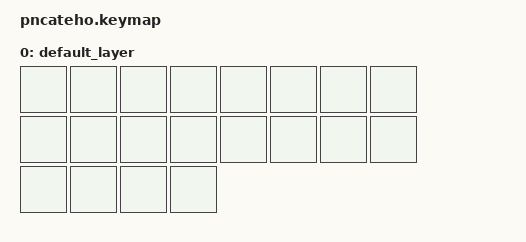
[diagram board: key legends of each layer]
/*
 * Demo PNCATEHO keymap. Combos expanded from
 * https://github.com/aroum/zmk-PNCATEHO (branch 2hand_PNCATEHO)
 * chords.dtsi so parse/splice can read numeric key-positions.
 * SPDX-License-Identifier: MIT
 */

#include <behaviors.dtsi>
#include <dt-bindings/zmk/keys.h>
#include <dt-bindings/zmk/bt.h>
#include <dt-bindings/zmk/ext_power.h>

/ {
        combos {
                compatible = "zmk,combos";
                combo_l_space {
                        bindings = <&kp SPACE>;
                        key-positions = <17>;
                        timeout-ms = <70>;
                        layers = <0>;
                };
                combo_r_space {
                        bindings = <&kp SPACE>;
                        key-positions = <18>;
                        timeout-ms = <70>;
                        layers = <0>;
                };
                combo_l_bspc {
                        bindings = <&kp BSPC>;
                        key-positions = <16>;
                        timeout-ms = <70>;
                        layers = <0>;
                };
                combo_r_bspc {
                        bindings = <&kp BSPC>;
                        key-positions = <19>;
                        timeout-ms = <70>;
                        layers = <0>;
                };
                combo_l_B {
                        bindings = <&kp B>;
                        key-positions = <0>;
                        timeout-ms = <70>;
                        layers = <0>;
                };
                combo_li_B {
                        bindings = <&kp LS(B)>;
                        key-positions = <0 17>;
                        timeout-ms = <70>;
                        layers = <0>;
                };
                combo_lo_B {
                        bindings = <&kp LEFT>;
                        key-positions = <0 16>;
                        timeout-ms = <70>;
                        layers = <0>;
                };
                combo_lb_B {
                        bindings = <&kp LS(LEFT)>;
                        key-positions = <0 17 16>;
                        timeout-ms = <70>;
                        layers = <0>;
                };
                combo_r_B {
                        bindings = <&kp B>;
                        key-positions = <7>;
                        timeout-ms = <70>;
                        layers = <0>;
                };
                combo_ri_B {
                        bindings = <&kp LS(B)>;
                        key-positions = <7 18>;
                        timeout-ms = <70>;
                        layers = <0>;
                };
                combo_ro_B {
                        bindings = <&kp LEFT>;
                        key-positions = <7 19>;
                        timeout-ms = <70>;
                        layers = <0>;
                };
                combo_rb_B {
                        bindings = <&kp LS(LEFT)>;
                        key-positions = <7 18 19>;
                        timeout-ms = <70>;
                        layers = <0>;
                };
                combo_l_F {
                        bindings = <&kp F>;
                        key-positions = <1>;
                        timeout-ms = <70>;
                        layers = <0>;
                };
                combo_li_F {
                        bindings = <&kp LS(F)>;
                        key-positions = <1 17>;
                        timeout-ms = <70>;
                        layers = <0>;
                };
                combo_lo_F {
                        bindings = <&kp UP>;
                        key-positions = <1 16>;
                        timeout-ms = <70>;
                        layers = <0>;
                };
                combo_lb_F {
                        bindings = <&kp LS(UP)>;
                        key-positions = <1 17 16>;
                        timeout-ms = <70>;
                        layers = <0>;
                };
                combo_r_F {
                        bindings = <&kp F>;
                        key-positions = <6>;
                        timeout-ms = <70>;
                        layers = <0>;
                };
                combo_ri_F {
                        bindings = <&kp LS(F)>;
                        key-positions = <6 18>;
                        timeout-ms = <70>;
                        layers = <0>;
                };
                combo_ro_F {
                        bindings = <&kp UP>;
                        key-positions = <6 19>;
                        timeout-ms = <70>;
                        layers = <0>;
                };
                combo_rb_F {
                        bindings = <&kp LS(UP)>;
                        key-positions = <6 18 19>;
                        timeout-ms = <70>;
                        layers = <0>;
                };
                combo_l_T {
                        bindings = <&kp T>;
                        key-positions = <2>;
                        timeout-ms = <70>;
                        layers = <0>;
                };
                combo_li_T {
                        bindings = <&kp LS(T)>;
                        key-positions = <2 17>;
                        timeout-ms = <70>;
                        layers = <0>;
                };
                combo_lo_T {
                        bindings = <&kp DOWN>;
                        key-positions = <2 16>;
                        timeout-ms = <70>;
                        layers = <0>;
                };
                combo_lb_T {
                        bindings = <&kp LS(DOWN)>;
                        key-positions = <2 17 16>;
                        timeout-ms = <70>;
                        layers = <0>;
                };
                combo_r_T {
                        bindings = <&kp T>;
                        key-positions = <5>;
                        timeout-ms = <70>;
                        layers = <0>;
                };
                combo_ri_T {
                        bindings = <&kp LS(T)>;
                        key-positions = <5 18>;
                        timeout-ms = <70>;
                        layers = <0>;
                };
                combo_ro_T {
                        bindings = <&kp DOWN>;
                        key-positions = <5 19>;
                        timeout-ms = <70>;
                        layers = <0>;
                };
                combo_rb_T {
                        bindings = <&kp LS(DOWN)>;
                        key-positions = <5 18 19>;
                        timeout-ms = <70>;
                        layers = <0>;
                };
                combo_l_J {
                        bindings = <&kp J>;
                        key-positions = <3>;
                        timeout-ms = <70>;
                        layers = <0>;
                };
                combo_li_J {
                        bindings = <&kp LS(J)>;
                        key-positions = <3 17>;
                        timeout-ms = <70>;
                        layers = <0>;
                };
                combo_lo_J {
                        bindings = <&kp RIGHT>;
                        key-positions = <3 16>;
                        timeout-ms = <70>;
                        layers = <0>;
                };
                combo_lb_J {
                        bindings = <&kp LS(RIGHT)>;
                        key-positions = <3 17 16>;
                        timeout-ms = <70>;
                        layers = <0>;
                };
                combo_r_J {
                        bindings = <&kp J>;
                        key-positions = <4>;
                        timeout-ms = <70>;
                        layers = <0>;
                };
                combo_ri_J {
                        bindings = <&kp LS(J)>;
                        key-positions = <4 18>;
                        timeout-ms = <70>;
                        layers = <0>;
                };
                combo_ro_J {
                        bindings = <&kp RIGHT>;
                        key-positions = <4 19>;
                        timeout-ms = <70>;
                        layers = <0>;
                };
                combo_rb_J {
                        bindings = <&kp LS(RIGHT)>;
                        key-positions = <4 18 19>;
                        timeout-ms = <70>;
                        layers = <0>;
                };
                combo_l_H {
                        bindings = <&kp H>;
                        key-positions = <8>;
                        timeout-ms = <70>;
                        layers = <0>;
                };
                combo_li_H {
                        bindings = <&kp LS(H)>;
                        key-positions = <8 17>;
                        timeout-ms = <70>;
                        layers = <0>;
                };
                combo_lo_H {
                        bindings = <&sk LGUI>;
                        key-positions = <8 16>;
                        timeout-ms = <70>;
                        layers = <0>;
                };
                combo_lb_H {
                        bindings = <&kp HOME>;
                        key-positions = <8 17 16>;
                        timeout-ms = <70>;
                        layers = <0>;
                };
                combo_r_H {
                        bindings = <&kp H>;
                        key-positions = <15>;
                        timeout-ms = <70>;
                        layers = <0>;
                };
                combo_ri_H {
                        bindings = <&kp LS(H)>;
                        key-positions = <15 18>;
                        timeout-ms = <70>;
                        layers = <0>;
                };
                combo_ro_H {
                        bindings = <&sk LGUI>;
                        key-positions = <15 19>;
                        timeout-ms = <70>;
                        layers = <0>;
                };
                combo_rb_H {
                        bindings = <&kp HOME>;
                        key-positions = <15 18 19>;
                        timeout-ms = <70>;
                        layers = <0>;
                };
                combo_l_C {
                        bindings = <&kp C>;
                        key-positions = <9>;
                        timeout-ms = <70>;
                        layers = <0>;
                };
                combo_li_C {
                        bindings = <&kp LS(C)>;
                        key-positions = <9 17>;
                        timeout-ms = <70>;
                        layers = <0>;
                };
                combo_lo_C {
                        bindings = <&sk LALT>;
                        key-positions = <9 16>;
                        timeout-ms = <70>;
                        layers = <0>;
                };
                combo_lb_C {
                        bindings = <&kp PG_UP>;
                        key-positions = <9 17 16>;
                        timeout-ms = <70>;
                        layers = <0>;
                };
                combo_r_C {
                        bindings = <&kp C>;
                        key-positions = <14>;
                        timeout-ms = <70>;
                        layers = <0>;
                };
                combo_ri_C {
                        bindings = <&kp LS(C)>;
                        key-positions = <14 18>;
                        timeout-ms = <70>;
                        layers = <0>;
                };
                combo_ro_C {
                        bindings = <&sk LALT>;
                        key-positions = <14 19>;
                        timeout-ms = <70>;
                        layers = <0>;
                };
                combo_rb_C {
                        bindings = <&kp PG_UP>;
                        key-positions = <14 18 19>;
                        timeout-ms = <70>;
                        layers = <0>;
                };
                combo_l_N {
                        bindings = <&kp N>;
                        key-positions = <10>;
                        timeout-ms = <70>;
                        layers = <0>;
                };
                combo_li_N {
                        bindings = <&kp LS(N)>;
                        key-positions = <10 17>;
                        timeout-ms = <70>;
                        layers = <0>;
                };
                combo_lo_N {
                        bindings = <&sk LCTRL>;
                        key-positions = <10 16>;
                        timeout-ms = <70>;
                        layers = <0>;
                };
                combo_lb_N {
                        bindings = <&kp PG_DN>;
                        key-positions = <10 17 16>;
                        timeout-ms = <70>;
                        layers = <0>;
                };
                combo_r_N {
                        bindings = <&kp N>;
                        key-positions = <13>;
                        timeout-ms = <70>;
                        layers = <0>;
                };
                combo_ri_N {
                        bindings = <&kp LS(N)>;
                        key-positions = <13 18>;
                        timeout-ms = <70>;
                        layers = <0>;
                };
                combo_ro_N {
                        bindings = <&sk LCTRL>;
                        key-positions = <13 19>;
                        timeout-ms = <70>;
                        layers = <0>;
                };
                combo_rb_N {
                        bindings = <&kp PG_DN>;
                        key-positions = <13 18 19>;
                        timeout-ms = <70>;
                        layers = <0>;
                };
                combo_l_Y {
                        bindings = <&kp Y>;
                        key-positions = <11>;
                        timeout-ms = <70>;
                        layers = <0>;
                };
                combo_li_Y {
                        bindings = <&kp LS(Y)>;
                        key-positions = <11 17>;
                        timeout-ms = <70>;
                        layers = <0>;
                };
                combo_lo_Y {
                        bindings = <&sk LSHIFT>;
                        key-positions = <11 16>;
                        timeout-ms = <70>;
                        layers = <0>;
                };
                combo_lb_Y {
                        bindings = <&kp END>;
                        key-positions = <11 17 16>;
                        timeout-ms = <70>;
                        layers = <0>;
                };
                combo_r_Y {
                        bindings = <&kp Y>;
                        key-positions = <12>;
                        timeout-ms = <70>;
                        layers = <0>;
                };
                combo_ri_Y {
                        bindings = <&kp LS(Y)>;
                        key-positions = <12 18>;
                        timeout-ms = <70>;
                        layers = <0>;
                };
                combo_ro_Y {
                        bindings = <&sk LSHIFT>;
                        key-positions = <12 19>;
                        timeout-ms = <70>;
                        layers = <0>;
                };
                combo_rb_Y {
                        bindings = <&kp END>;
                        key-positions = <12 18 19>;
                        timeout-ms = <70>;
                        layers = <0>;
                };
                combo_l_D {
                        bindings = <&kp D>;
                        key-positions = <0 3>;
                        timeout-ms = <70>;
                        layers = <0>;
                };
                combo_li_D {
                        bindings = <&kp LS(D)>;
                        key-positions = <0 3 17>;
                        timeout-ms = <70>;
                        layers = <0>;
                };
                combo_lo_D {
                        bindings = <&kp N1>;
                        key-positions = <0 3 16>;
                        timeout-ms = <70>;
                        layers = <0>;
                };
                combo_lb_D {
                        bindings = <&kp F1>;
                        key-positions = <0 3 17 16>;
                        timeout-ms = <70>;
                        layers = <0>;
                };
                combo_r_D {
                        bindings = <&kp D>;
                        key-positions = <7 4>;
                        timeout-ms = <70>;
                        layers = <0>;
                };
                combo_ri_D {
                        bindings = <&kp LS(D)>;
                        key-positions = <7 4 18>;
                        timeout-ms = <70>;
                        layers = <0>;
                };
                combo_ro_D {
                        bindings = <&kp N1>;
                        key-positions = <7 4 19>;
                        timeout-ms = <70>;
                        layers = <0>;
                };
                combo_rb_D {
                        bindings = <&kp F1>;
                        key-positions = <7 4 18 19>;
                        timeout-ms = <70>;
                        layers = <0>;
                };
                combo_l_K {
                        bindings = <&kp K>;
                        key-positions = <8 11>;
                        timeout-ms = <70>;
                        layers = <0>;
                };
                combo_li_K {
                        bindings = <&kp LS(K)>;
                        key-positions = <8 11 17>;
                        timeout-ms = <70>;
                        layers = <0>;
                };
                combo_lo_K {
                        bindings = <&kp N2>;
                        key-positions = <8 11 16>;
                        timeout-ms = <70>;
                        layers = <0>;
                };
                combo_lb_K {
                        bindings = <&kp F2>;
                        key-positions = <8 11 17 16>;
                        timeout-ms = <70>;
                        layers = <0>;
                };
                combo_r_K {
                        bindings = <&kp K>;
                        key-positions = <15 12>;
                        timeout-ms = <70>;
                        layers = <0>;
                };
                combo_ri_K {
                        bindings = <&kp LS(K)>;
                        key-positions = <15 12 18>;
                        timeout-ms = <70>;
                        layers = <0>;
                };
                combo_ro_K {
                        bindings = <&kp N2>;
                        key-positions = <15 12 19>;
                        timeout-ms = <70>;
                        layers = <0>;
                };
                combo_rb_K {
                        bindings = <&kp F2>;
                        key-positions = <15 12 18 19>;
                        timeout-ms = <70>;
                        layers = <0>;
                };
                combo_l_R {
                        bindings = <&kp R>;
                        key-positions = <8 9>;
                        timeout-ms = <70>;
                        layers = <0>;
                };
                combo_li_R {
                        bindings = <&kp LS(R)>;
                        key-positions = <8 9 17>;
                        timeout-ms = <70>;
                        layers = <0>;
                };
                combo_lo_R {
                        bindings = <&kp N3>;
                        key-positions = <8 9 16>;
                        timeout-ms = <70>;
                        layers = <0>;
                };
                combo_lb_R {
                        bindings = <&kp F3>;
                        key-positions = <8 9 17 16>;
                        timeout-ms = <70>;
                        layers = <0>;
                };
                combo_r_R {
                        bindings = <&kp R>;
                        key-positions = <15 14>;
                        timeout-ms = <70>;
                        layers = <0>;
                };
                combo_ri_R {
                        bindings = <&kp LS(R)>;
                        key-positions = <15 14 18>;
                        timeout-ms = <70>;
                        layers = <0>;
                };
                combo_ro_R {
                        bindings = <&kp N3>;
                        key-positions = <15 14 19>;
                        timeout-ms = <70>;
                        layers = <0>;
                };
                combo_rb_R {
                        bindings = <&kp F3>;
                        key-positions = <15 14 18 19>;
                        timeout-ms = <70>;
                        layers = <0>;
                };
                combo_l_V {
                        bindings = <&kp V>;
                        key-positions = <10 11>;
                        timeout-ms = <70>;
                        layers = <0>;
                };
                combo_li_V {
                        bindings = <&kp LS(V)>;
                        key-positions = <10 11 17>;
                        timeout-ms = <70>;
                        layers = <0>;
                };
                combo_lo_V {
                        bindings = <&kp N4>;
                        key-positions = <10 11 16>;
                        timeout-ms = <70>;
                        layers = <0>;
                };
                combo_lb_V {
                        bindings = <&kp F4>;
                        key-positions = <10 11 17 16>;
                        timeout-ms = <70>;
                        layers = <0>;
                };
                combo_r_V {
                        bindings = <&kp V>;
                        key-positions = <13 12>;
                        timeout-ms = <70>;
                        layers = <0>;
                };
                combo_ri_V {
                        bindings = <&kp LS(V)>;
                        key-positions = <13 12 18>;
                        timeout-ms = <70>;
                        layers = <0>;
                };
                combo_ro_V {
                        bindings = <&kp N4>;
                        key-positions = <13 12 19>;
                        timeout-ms = <70>;
                        layers = <0>;
                };
                combo_rb_V {
                        bindings = <&kp F4>;
                        key-positions = <13 12 18 19>;
                        timeout-ms = <70>;
                        layers = <0>;
                };
                combo_l_L {
                        bindings = <&kp L>;
                        key-positions = <0 1>;
                        timeout-ms = <70>;
                        layers = <0>;
                };
                combo_li_L {
                        bindings = <&kp LS(L)>;
                        key-positions = <0 1 17>;
                        timeout-ms = <70>;
                        layers = <0>;
                };
                combo_lo_L {
                        bindings = <&kp N5>;
                        key-positions = <0 1 16>;
                        timeout-ms = <70>;
                        layers = <0>;
                };
                combo_lb_L {
                        bindings = <&kp F5>;
                        key-positions = <0 1 17 16>;
                        timeout-ms = <70>;
                        layers = <0>;
                };
                combo_r_L {
                        bindings = <&kp L>;
                        key-positions = <7 6>;
                        timeout-ms = <70>;
                        layers = <0>;
                };
                combo_ri_L {
                        bindings = <&kp LS(L)>;
                        key-positions = <7 6 18>;
                        timeout-ms = <70>;
                        layers = <0>;
                };
                combo_ro_L {
                        bindings = <&kp N5>;
                        key-positions = <7 6 19>;
                        timeout-ms = <70>;
                        layers = <0>;
                };
                combo_rb_L {
                        bindings = <&kp F5>;
                        key-positions = <7 6 18 19>;
                        timeout-ms = <70>;
                        layers = <0>;
                };
                combo_l_G {
                        bindings = <&kp G>;
                        key-positions = <2 3>;
                        timeout-ms = <70>;
                        layers = <0>;
                };
                combo_li_G {
                        bindings = <&kp LS(G)>;
                        key-positions = <2 3 17>;
                        timeout-ms = <70>;
                        layers = <0>;
                };
                combo_lo_G {
                        bindings = <&kp N6>;
                        key-positions = <2 3 16>;
                        timeout-ms = <70>;
                        layers = <0>;
                };
                combo_lb_G {
                        bindings = <&kp F6>;
                        key-positions = <2 3 17 16>;
                        timeout-ms = <70>;
                        layers = <0>;
                };
                combo_r_G {
                        bindings = <&kp G>;
                        key-positions = <5 4>;
                        timeout-ms = <70>;
                        layers = <0>;
                };
                combo_ri_G {
                        bindings = <&kp LS(G)>;
                        key-positions = <5 4 18>;
                        timeout-ms = <70>;
                        layers = <0>;
                };
                combo_ro_G {
                        bindings = <&kp N6>;
                        key-positions = <5 4 19>;
                        timeout-ms = <70>;
                        layers = <0>;
                };
                combo_rb_G {
                        bindings = <&kp F6>;
                        key-positions = <5 4 18 19>;
                        timeout-ms = <70>;
                        layers = <0>;
                };
                combo_l_E {
                        bindings = <&kp E>;
                        key-positions = <9 10>;
                        timeout-ms = <70>;
                        layers = <0>;
                };
                combo_li_E {
                        bindings = <&kp LS(E)>;
                        key-positions = <9 10 17>;
                        timeout-ms = <70>;
                        layers = <0>;
                };
                combo_lo_E {
                        bindings = <&kp N7>;
                        key-positions = <9 10 16>;
                        timeout-ms = <70>;
                        layers = <0>;
                };
                combo_lb_E {
                        bindings = <&kp F7>;
                        key-positions = <9 10 17 16>;
                        timeout-ms = <70>;
                        layers = <0>;
                };
                combo_r_E {
                        bindings = <&kp E>;
                        key-positions = <14 13>;
                        timeout-ms = <70>;
                        layers = <0>;
                };
                combo_ri_E {
                        bindings = <&kp LS(E)>;
                        key-positions = <14 13 18>;
                        timeout-ms = <70>;
                        layers = <0>;
                };
                combo_ro_E {
                        bindings = <&kp N7>;
                        key-positions = <14 13 19>;
                        timeout-ms = <70>;
                        layers = <0>;
                };
                combo_rb_E {
                        bindings = <&kp F7>;
                        key-positions = <14 13 18 19>;
                        timeout-ms = <70>;
                        layers = <0>;
                };
                combo_l_Z {
                        bindings = <&kp Z>;
                        key-positions = <1 2>;
                        timeout-ms = <70>;
                        layers = <0>;
                };
                combo_li_Z {
                        bindings = <&kp LS(Z)>;
                        key-positions = <1 2 17>;
                        timeout-ms = <70>;
                        layers = <0>;
                };
                combo_lo_Z {
                        bindings = <&kp N8>;
                        key-positions = <1 2 16>;
                        timeout-ms = <70>;
                        layers = <0>;
                };
                combo_lb_Z {
                        bindings = <&kp F8>;
                        key-positions = <1 2 17 16>;
                        timeout-ms = <70>;
                        layers = <0>;
                };
                combo_r_Z {
                        bindings = <&kp Z>;
                        key-positions = <6 5>;
                        timeout-ms = <70>;
                        layers = <0>;
                };
                combo_ri_Z {
                        bindings = <&kp LS(Z)>;
                        key-positions = <6 5 18>;
                        timeout-ms = <70>;
                        layers = <0>;
                };
                combo_ro_Z {
                        bindings = <&kp N8>;
                        key-positions = <6 5 19>;
                        timeout-ms = <70>;
                        layers = <0>;
                };
                combo_rb_Z {
                        bindings = <&kp F8>;
                        key-positions = <6 5 18 19>;
                        timeout-ms = <70>;
                        layers = <0>;
                };
                combo_l_S {
                        bindings = <&kp S>;
                        key-positions = <8 10>;
                        timeout-ms = <70>;
                        layers = <0>;
                };
                combo_li_S {
                        bindings = <&kp LS(S)>;
                        key-positions = <8 10 17>;
                        timeout-ms = <70>;
                        layers = <0>;
                };
                combo_lo_S {
                        bindings = <&kp N9>;
                        key-positions = <8 10 16>;
                        timeout-ms = <70>;
                        layers = <0>;
                };
                combo_lb_S {
                        bindings = <&kp F9>;
                        key-positions = <8 10 17 16>;
                        timeout-ms = <70>;
                        layers = <0>;
                };
                combo_r_S {
                        bindings = <&kp S>;
                        key-positions = <15 13>;
                        timeout-ms = <70>;
                        layers = <0>;
                };
                combo_ri_S {
                        bindings = <&kp LS(S)>;
                        key-positions = <15 13 18>;
                        timeout-ms = <70>;
                        layers = <0>;
                };
                combo_ro_S {
                        bindings = <&kp N9>;
                        key-positions = <15 13 19>;
                        timeout-ms = <70>;
                        layers = <0>;
                };
                combo_rb_S {
                        bindings = <&kp F9>;
                        key-positions = <15 13 18 19>;
                        timeout-ms = <70>;
                        layers = <0>;
                };
                combo_l_M {
                        bindings = <&kp M>;
                        key-positions = <9 11>;
                        timeout-ms = <70>;
                        layers = <0>;
                };
                combo_li_M {
                        bindings = <&kp LS(M)>;
                        key-positions = <9 11 17>;
                        timeout-ms = <70>;
                        layers = <0>;
                };
                combo_lo_M {
                        bindings = <&kp N0>;
                        key-positions = <9 11 16>;
                        timeout-ms = <70>;
                        layers = <0>;
                };
                combo_lb_M {
                        bindings = <&kp F10>;
                        key-positions = <9 11 17 16>;
                        timeout-ms = <70>;
                        layers = <0>;
                };
                combo_r_M {
                        bindings = <&kp M>;
                        key-positions = <14 12>;
                        timeout-ms = <70>;
                        layers = <0>;
                };
                combo_ri_M {
                        bindings = <&kp LS(M)>;
                        key-positions = <14 12 18>;
                        timeout-ms = <70>;
                        layers = <0>;
                };
                combo_ro_M {
                        bindings = <&kp N0>;
                        key-positions = <14 12 19>;
                        timeout-ms = <70>;
                        layers = <0>;
                };
                combo_rb_M {
                        bindings = <&kp F10>;
                        key-positions = <14 12 18 19>;
                        timeout-ms = <70>;
                        layers = <0>;
                };
                combo_l_U {
                        bindings = <&kp U>;
                        key-positions = <0 2>;
                        timeout-ms = <70>;
                        layers = <0>;
                };
                combo_li_U {
                        bindings = <&kp LS(U)>;
                        key-positions = <0 2 17>;
                        timeout-ms = <70>;
                        layers = <0>;
                };
                combo_lo_U {
                        bindings = <&kp EXCL>;
                        key-positions = <0 2 16>;
                        timeout-ms = <70>;
                        layers = <0>;
                };
                combo_lb_U {
                        bindings = <&kp F11>;
                        key-positions = <0 2 17 16>;
                        timeout-ms = <70>;
                        layers = <0>;
                };
                combo_r_U {
                        bindings = <&kp U>;
                        key-positions = <7 5>;
                        timeout-ms = <70>;
                        layers = <0>;
                };
                combo_ri_U {
                        bindings = <&kp LS(U)>;
                        key-positions = <7 5 18>;
                        timeout-ms = <70>;
                        layers = <0>;
                };
                combo_ro_U {
                        bindings = <&kp EXCL>;
                        key-positions = <7 5 19>;
                        timeout-ms = <70>;
                        layers = <0>;
                };
                combo_rb_U {
                        bindings = <&kp F11>;
                        key-positions = <7 5 18 19>;
                        timeout-ms = <70>;
                        layers = <0>;
                };
                combo_l_P {
                        bindings = <&kp P>;
                        key-positions = <1 3>;
                        timeout-ms = <70>;
                        layers = <0>;
                };
                combo_li_P {
                        bindings = <&kp LS(P)>;
                        key-positions = <1 3 17>;
                        timeout-ms = <70>;
                        layers = <0>;
                };
                combo_lo_P {
                        bindings = <&kp AT>;
                        key-positions = <1 3 16>;
                        timeout-ms = <70>;
                        layers = <0>;
                };
                combo_lb_P {
                        bindings = <&kp F12>;
                        key-positions = <1 3 17 16>;
                        timeout-ms = <70>;
                        layers = <0>;
                };
                combo_r_P {
                        bindings = <&kp P>;
                        key-positions = <6 4>;
                        timeout-ms = <70>;
                        layers = <0>;
                };
                combo_ri_P {
                        bindings = <&kp LS(P)>;
                        key-positions = <6 4 18>;
                        timeout-ms = <70>;
                        layers = <0>;
                };
                combo_ro_P {
                        bindings = <&kp AT>;
                        key-positions = <6 4 19>;
                        timeout-ms = <70>;
                        layers = <0>;
                };
                combo_rb_P {
                        bindings = <&kp F12>;
                        key-positions = <6 4 18 19>;
                        timeout-ms = <70>;
                        layers = <0>;
                };
                combo_l_COMMA {
                        bindings = <&kp COMMA>;
                        key-positions = <0 11>;
                        timeout-ms = <70>;
                        layers = <0>;
                };
                combo_li_COMMA {
                        bindings = <&kp LS(COMMA)>;
                        key-positions = <0 11 17>;
                        timeout-ms = <70>;
                        layers = <0>;
                };
                combo_lo_COMMA {
                        bindings = <&kp HASH>;
                        key-positions = <0 11 16>;
                        timeout-ms = <70>;
                        layers = <0>;
                };
                combo_lb_COMMA {
                        bindings = <&none>;
                        key-positions = <0 11 17 16>;
                        timeout-ms = <70>;
                        layers = <0>;
                };
                combo_r_COMMA {
                        bindings = <&kp COMMA>;
                        key-positions = <7 12>;
                        timeout-ms = <70>;
                        layers = <0>;
                };
                combo_ri_COMMA {
                        bindings = <&kp LS(COMMA)>;
                        key-positions = <7 12 18>;
                        timeout-ms = <70>;
                        layers = <0>;
                };
                combo_ro_COMMA {
                        bindings = <&kp HASH>;
                        key-positions = <7 12 19>;
                        timeout-ms = <70>;
                        layers = <0>;
                };
                combo_rb_COMMA {
                        bindings = <&none>;
                        key-positions = <7 12 18 19>;
                        timeout-ms = <70>;
                        layers = <0>;
                };
                combo_l_X {
                        bindings = <&kp X>;
                        key-positions = <8 3>;
                        timeout-ms = <70>;
                        layers = <0>;
                };
                combo_li_X {
                        bindings = <&kp LS(X)>;
                        key-positions = <8 3 17>;
                        timeout-ms = <70>;
                        layers = <0>;
                };
                combo_lo_X {
                        bindings = <&kp DLLR>;
                        key-positions = <8 3 16>;
                        timeout-ms = <70>;
                        layers = <0>;
                };
                combo_lb_X {
                        bindings = <&none>;
                        key-positions = <8 3 17 16>;
                        timeout-ms = <70>;
                        layers = <0>;
                };
                combo_r_X {
                        bindings = <&kp X>;
                        key-positions = <15 4>;
                        timeout-ms = <70>;
                        layers = <0>;
                };
                combo_ri_X {
                        bindings = <&kp LS(X)>;
                        key-positions = <15 4 18>;
                        timeout-ms = <70>;
                        layers = <0>;
                };
                combo_ro_X {
                        bindings = <&kp DLLR>;
                        key-positions = <15 4 19>;
                        timeout-ms = <70>;
                        layers = <0>;
                };
                combo_rb_X {
                        bindings = <&none>;
                        key-positions = <15 4 18 19>;
                        timeout-ms = <70>;
                        layers = <0>;
                };
                combo_l_Q {
                        bindings = <&kp Q>;
                        key-positions = <0 10>;
                        timeout-ms = <70>;
                        layers = <0>;
                };
                combo_li_Q {
                        bindings = <&kp LS(Q)>;
                        key-positions = <0 10 17>;
                        timeout-ms = <70>;
                        layers = <0>;
                };
                combo_lo_Q {
                        bindings = <&kp PRCNT>;
                        key-positions = <0 10 16>;
                        timeout-ms = <70>;
                        layers = <0>;
                };
                combo_lb_Q {
                        bindings = <&none>;
                        key-positions = <0 10 17 16>;
                        timeout-ms = <70>;
                        layers = <0>;
                };
                combo_r_Q {
                        bindings = <&kp Q>;
                        key-positions = <7 13>;
                        timeout-ms = <70>;
                        layers = <0>;
                };
                combo_ri_Q {
                        bindings = <&kp LS(Q)>;
                        key-positions = <7 13 18>;
                        timeout-ms = <70>;
                        layers = <0>;
                };
                combo_ro_Q {
                        bindings = <&kp PRCNT>;
                        key-positions = <7 13 19>;
                        timeout-ms = <70>;
                        layers = <0>;
                };
                combo_rb_Q {
                        bindings = <&none>;
                        key-positions = <7 13 18 19>;
                        timeout-ms = <70>;
                        layers = <0>;
                };
                combo_l_LBKT {
                        bindings = <&kp LBKT>;
                        key-positions = <9 3>;
                        timeout-ms = <70>;
                        layers = <0>;
                };
                combo_li_LBKT {
                        bindings = <&kp LS(LBKT)>;
                        key-positions = <9 3 17>;
                        timeout-ms = <70>;
                        layers = <0>;
                };
                combo_lo_LBKT {
                        bindings = <&kp CARET>;
                        key-positions = <9 3 16>;
                        timeout-ms = <70>;
                        layers = <0>;
                };
                combo_lb_LBKT {
                        bindings = <&none>;
                        key-positions = <9 3 17 16>;
                        timeout-ms = <70>;
                        layers = <0>;
                };
                combo_r_LBKT {
                        bindings = <&kp LBKT>;
                        key-positions = <14 4>;
                        timeout-ms = <70>;
                        layers = <0>;
                };
                combo_ri_LBKT {
                        bindings = <&kp LS(LBKT)>;
                        key-positions = <14 4 18>;
                        timeout-ms = <70>;
                        layers = <0>;
                };
                combo_ro_LBKT {
                        bindings = <&kp CARET>;
                        key-positions = <14 4 19>;
                        timeout-ms = <70>;
                        layers = <0>;
                };
                combo_rb_LBKT {
                        bindings = <&none>;
                        key-positions = <14 4 18 19>;
                        timeout-ms = <70>;
                        layers = <0>;
                };
                combo_l_SEMI {
                        bindings = <&kp SEMI>;
                        key-positions = <8 2>;
                        timeout-ms = <70>;
                        layers = <0>;
                };
                combo_li_SEMI {
                        bindings = <&kp LS(SEMI)>;
                        key-positions = <8 2 17>;
                        timeout-ms = <70>;
                        layers = <0>;
                };
                combo_lo_SEMI {
                        bindings = <&kp AMPS>;
                        key-positions = <8 2 16>;
                        timeout-ms = <70>;
                        layers = <0>;
                };
                combo_lb_SEMI {
                        bindings = <&none>;
                        key-positions = <8 2 17 16>;
                        timeout-ms = <70>;
                        layers = <0>;
                };
                combo_r_SEMI {
                        bindings = <&kp SEMI>;
                        key-positions = <15 5>;
                        timeout-ms = <70>;
                        layers = <0>;
                };
                combo_ri_SEMI {
                        bindings = <&kp LS(SEMI)>;
                        key-positions = <15 5 18>;
                        timeout-ms = <70>;
                        layers = <0>;
                };
                combo_ro_SEMI {
                        bindings = <&kp AMPS>;
                        key-positions = <15 5 19>;
                        timeout-ms = <70>;
                        layers = <0>;
                };
                combo_rb_SEMI {
                        bindings = <&none>;
                        key-positions = <15 5 18 19>;
                        timeout-ms = <70>;
                        layers = <0>;
                };
                combo_l_I {
                        bindings = <&kp I>;
                        key-positions = <1 11>;
                        timeout-ms = <70>;
                        layers = <0>;
                };
                combo_li_I {
                        bindings = <&kp LS(I)>;
                        key-positions = <1 11 17>;
                        timeout-ms = <70>;
                        layers = <0>;
                };
                combo_lo_I {
                        bindings = <&kp STAR>;
                        key-positions = <1 11 16>;
                        timeout-ms = <70>;
                        layers = <0>;
                };
                combo_lb_I {
                        bindings = <&none>;
                        key-positions = <1 11 17 16>;
                        timeout-ms = <70>;
                        layers = <0>;
                };
                combo_r_I {
                        bindings = <&kp I>;
                        key-positions = <6 12>;
                        timeout-ms = <70>;
                        layers = <0>;
                };
                combo_ri_I {
                        bindings = <&kp LS(I)>;
                        key-positions = <6 12 18>;
                        timeout-ms = <70>;
                        layers = <0>;
                };
                combo_ro_I {
                        bindings = <&kp STAR>;
                        key-positions = <6 12 19>;
                        timeout-ms = <70>;
                        layers = <0>;
                };
                combo_rb_I {
                        bindings = <&none>;
                        key-positions = <6 12 18 19>;
                        timeout-ms = <70>;
                        layers = <0>;
                };
                combo_l_DOT {
                        bindings = <&kp DOT>;
                        key-positions = <0 9>;
                        timeout-ms = <70>;
                        layers = <0>;
                };
                combo_li_DOT {
                        bindings = <&kp LS(DOT)>;
                        key-positions = <0 9 17>;
                        timeout-ms = <70>;
                        layers = <0>;
                };
                combo_lo_DOT {
                        bindings = <&kp LPAR>;
                        key-positions = <0 9 16>;
                        timeout-ms = <70>;
                        layers = <0>;
                };
                combo_lb_DOT {
                        bindings = <&none>;
                        key-positions = <0 9 17 16>;
                        timeout-ms = <70>;
                        layers = <0>;
                };
                combo_r_DOT {
                        bindings = <&kp DOT>;
                        key-positions = <7 14>;
                        timeout-ms = <70>;
                        layers = <0>;
                };
                combo_ri_DOT {
                        bindings = <&kp LS(DOT)>;
                        key-positions = <7 14 18>;
                        timeout-ms = <70>;
                        layers = <0>;
                };
                combo_ro_DOT {
                        bindings = <&kp LPAR>;
                        key-positions = <7 14 19>;
                        timeout-ms = <70>;
                        layers = <0>;
                };
                combo_rb_DOT {
                        bindings = <&none>;
                        key-positions = <7 14 18 19>;
                        timeout-ms = <70>;
                        layers = <0>;
                };
                combo_l_W {
                        bindings = <&kp W>;
                        key-positions = <3 10>;
                        timeout-ms = <70>;
                        layers = <0>;
                };
                combo_li_W {
                        bindings = <&kp LS(W)>;
                        key-positions = <3 10 17>;
                        timeout-ms = <70>;
                        layers = <0>;
                };
                combo_lo_W {
                        bindings = <&kp RPAR>;
                        key-positions = <3 10 16>;
                        timeout-ms = <70>;
                        layers = <0>;
                };
                combo_lb_W {
                        bindings = <&none>;
                        key-positions = <3 10 17 16>;
                        timeout-ms = <70>;
                        layers = <0>;
                };
                combo_r_W {
                        bindings = <&kp W>;
                        key-positions = <4 13>;
                        timeout-ms = <70>;
                        layers = <0>;
                };
                combo_ri_W {
                        bindings = <&kp LS(W)>;
                        key-positions = <4 13 18>;
                        timeout-ms = <70>;
                        layers = <0>;
                };
                combo_ro_W {
                        bindings = <&kp RPAR>;
                        key-positions = <4 13 19>;
                        timeout-ms = <70>;
                        layers = <0>;
                };
                combo_rb_W {
                        bindings = <&none>;
                        key-positions = <4 13 18 19>;
                        timeout-ms = <70>;
                        layers = <0>;
                };
                combo_l_O {
                        bindings = <&kp O>;
                        key-positions = <1 10>;
                        timeout-ms = <70>;
                        layers = <0>;
                };
                combo_li_O {
                        bindings = <&kp LS(O)>;
                        key-positions = <1 10 17>;
                        timeout-ms = <70>;
                        layers = <0>;
                };
                combo_lo_O {
                        bindings = <&kp SLASH>;
                        key-positions = <1 10 16>;
                        timeout-ms = <70>;
                        layers = <0>;
                };
                combo_lb_O {
                        bindings = <&none>;
                        key-positions = <1 10 17 16>;
                        timeout-ms = <70>;
                        layers = <0>;
                };
                combo_r_O {
                        bindings = <&kp O>;
                        key-positions = <6 13>;
                        timeout-ms = <70>;
                        layers = <0>;
                };
                combo_ri_O {
                        bindings = <&kp LS(O)>;
                        key-positions = <6 13 18>;
                        timeout-ms = <70>;
                        layers = <0>;
                };
                combo_ro_O {
                        bindings = <&kp SLASH>;
                        key-positions = <6 13 19>;
                        timeout-ms = <70>;
                        layers = <0>;
                };
                combo_rb_O {
                        bindings = <&none>;
                        key-positions = <6 13 18 19>;
                        timeout-ms = <70>;
                        layers = <0>;
                };
                combo_l_SQT {
                        bindings = <&kp SQT>;
                        key-positions = <2 9>;
                        timeout-ms = <70>;
                        layers = <0>;
                };
                combo_li_SQT {
                        bindings = <&kp LS(SQT)>;
                        key-positions = <2 9 17>;
                        timeout-ms = <70>;
                        layers = <0>;
                };
                combo_lo_SQT {
                        bindings = <&kp QMARK>;
                        key-positions = <2 9 16>;
                        timeout-ms = <70>;
                        layers = <0>;
                };
                combo_lb_SQT {
                        bindings = <&none>;
                        key-positions = <2 9 17 16>;
                        timeout-ms = <70>;
                        layers = <0>;
                };
                combo_r_SQT {
                        bindings = <&kp SQT>;
                        key-positions = <5 14>;
                        timeout-ms = <70>;
                        layers = <0>;
                };
                combo_ri_SQT {
                        bindings = <&kp LS(SQT)>;
                        key-positions = <5 14 18>;
                        timeout-ms = <70>;
                        layers = <0>;
                };
                combo_ro_SQT {
                        bindings = <&kp QMARK>;
                        key-positions = <5 14 19>;
                        timeout-ms = <70>;
                        layers = <0>;
                };
                combo_rb_SQT {
                        bindings = <&none>;
                        key-positions = <5 14 18 19>;
                        timeout-ms = <70>;
                        layers = <0>;
                };
                combo_l_A {
                        bindings = <&kp A>;
                        key-positions = <2 11>;
                        timeout-ms = <70>;
                        layers = <0>;
                };
                combo_li_A {
                        bindings = <&kp LS(A)>;
                        key-positions = <2 11 17>;
                        timeout-ms = <70>;
                        layers = <0>;
                };
                combo_lo_A {
                        bindings = <&kp MINUS>;
                        key-positions = <2 11 16>;
                        timeout-ms = <70>;
                        layers = <0>;
                };
                combo_lb_A {
                        bindings = <&none>;
                        key-positions = <2 11 17 16>;
                        timeout-ms = <70>;
                        layers = <0>;
                };
                combo_r_A {
                        bindings = <&kp A>;
                        key-positions = <5 12>;
                        timeout-ms = <70>;
                        layers = <0>;
                };
                combo_ri_A {
                        bindings = <&kp LS(A)>;
                        key-positions = <5 12 18>;
                        timeout-ms = <70>;
                        layers = <0>;
                };
                combo_ro_A {
                        bindings = <&kp MINUS>;
                        key-positions = <5 12 19>;
                        timeout-ms = <70>;
                        layers = <0>;
                };
                combo_rb_A {
                        bindings = <&none>;
                        key-positions = <5 12 18 19>;
                        timeout-ms = <70>;
                        layers = <0>;
                };
                combo_l_RBKT {
                        bindings = <&kp RBKT>;
                        key-positions = <1 8>;
                        timeout-ms = <70>;
                        layers = <0>;
                };
                combo_li_RBKT {
                        bindings = <&kp LS(RBKT)>;
                        key-positions = <1 8 17>;
                        timeout-ms = <70>;
                        layers = <0>;
                };
                combo_lo_RBKT {
                        bindings = <&kp UNDER>;
                        key-positions = <1 8 16>;
                        timeout-ms = <70>;
                        layers = <0>;
                };
                combo_lb_RBKT {
                        bindings = <&none>;
                        key-positions = <1 8 17 16>;
                        timeout-ms = <70>;
                        layers = <0>;
                };
                combo_r_RBKT {
                        bindings = <&kp RBKT>;
                        key-positions = <6 15>;
                        timeout-ms = <70>;
                        layers = <0>;
                };
                combo_ri_RBKT {
                        bindings = <&kp LS(RBKT)>;
                        key-positions = <6 15 18>;
                        timeout-ms = <70>;
                        layers = <0>;
                };
                combo_ro_RBKT {
                        bindings = <&kp UNDER>;
                        key-positions = <6 15 19>;
                        timeout-ms = <70>;
                        layers = <0>;
                };
                combo_rb_RBKT {
                        bindings = <&none>;
                        key-positions = <6 15 18 19>;
                        timeout-ms = <70>;
                        layers = <0>;
                };
                combo_l_GRAVE {
                        bindings = <&kp GRAVE>;
                        key-positions = <1 2 3>;
                        timeout-ms = <70>;
                        layers = <0>;
                };
                combo_li_GRAVE {
                        bindings = <&kp LS(GRAVE)>;
                        key-positions = <1 2 3 17>;
                        timeout-ms = <70>;
                        layers = <0>;
                };
                combo_lo_GRAVE {
                        bindings = <&kp EQUAL>;
                        key-positions = <1 2 3 16>;
                        timeout-ms = <70>;
                        layers = <0>;
                };
                combo_lb_GRAVE {
                        bindings = <&none>;
                        key-positions = <1 2 3 17 16>;
                        timeout-ms = <70>;
                        layers = <0>;
                };
                combo_r_GRAVE {
                        bindings = <&kp GRAVE>;
                        key-positions = <6 5 4>;
                        timeout-ms = <70>;
                        layers = <0>;
                };
                combo_ri_GRAVE {
                        bindings = <&kp LS(GRAVE)>;
                        key-positions = <6 5 4 18>;
                        timeout-ms = <70>;
                        layers = <0>;
                };
                combo_ro_GRAVE {
                        bindings = <&kp EQUAL>;
                        key-positions = <6 5 4 19>;
                        timeout-ms = <70>;
                        layers = <0>;
                };
                combo_rb_GRAVE {
                        bindings = <&none>;
                        key-positions = <6 5 4 18 19>;
                        timeout-ms = <70>;
                        layers = <0>;
                };
                combo_l_NUBS {
                        bindings = <&kp NUBS>;
                        key-positions = <9 10 11>;
                        timeout-ms = <70>;
                        layers = <0>;
                };
                combo_li_NUBS {
                        bindings = <&kp LS(NUBS)>;
                        key-positions = <9 10 11 17>;
                        timeout-ms = <70>;
                        layers = <0>;
                };
                combo_lo_NUBS {
                        bindings = <&kp PLUS>;
                        key-positions = <9 10 11 16>;
                        timeout-ms = <70>;
                        layers = <0>;
                };
                combo_lb_NUBS {
                        bindings = <&none>;
                        key-positions = <9 10 11 17 16>;
                        timeout-ms = <70>;
                        layers = <0>;
                };
                combo_r_NUBS {
                        bindings = <&kp NUBS>;
                        key-positions = <14 13 12>;
                        timeout-ms = <70>;
                        layers = <0>;
                };
                combo_ri_NUBS {
                        bindings = <&kp LS(NUBS)>;
                        key-positions = <14 13 12 18>;
                        timeout-ms = <70>;
                        layers = <0>;
                };
                combo_ro_NUBS {
                        bindings = <&kp PLUS>;
                        key-positions = <14 13 12 19>;
                        timeout-ms = <70>;
                        layers = <0>;
                };
                combo_rb_NUBS {
                        bindings = <&none>;
                        key-positions = <14 13 12 18 19>;
                        timeout-ms = <70>;
                        layers = <0>;
                };
                combo_l_DEL {
                        bindings = <&kp DEL>;
                        key-positions = <1 9>;
                        timeout-ms = <70>;
                        layers = <0>;
                };
                combo_li_DEL {
                        bindings = <&none>;
                        key-positions = <1 9 17>;
                        timeout-ms = <70>;
                        layers = <0>;
                };
                combo_lo_DEL {
                        bindings = <&kp LC(DEL)>;
                        key-positions = <1 9 16>;
                        timeout-ms = <70>;
                        layers = <0>;
                };
                combo_lb_DEL {
                        bindings = <&none>;
                        key-positions = <1 9 17 16>;
                        timeout-ms = <70>;
                        layers = <0>;
                };
                combo_r_DEL {
                        bindings = <&kp DEL>;
                        key-positions = <6 14>;
                        timeout-ms = <70>;
                        layers = <0>;
                };
                combo_ri_DEL {
                        bindings = <&none>;
                        key-positions = <6 14 18>;
                        timeout-ms = <70>;
                        layers = <0>;
                };
                combo_ro_DEL {
                        bindings = <&kp LC(DEL)>;
                        key-positions = <6 14 19>;
                        timeout-ms = <70>;
                        layers = <0>;
                };
                combo_rb_DEL {
                        bindings = <&none>;
                        key-positions = <6 14 18 19>;
                        timeout-ms = <70>;
                        layers = <0>;
                };
                combo_l_ESC {
                        bindings = <&kp ESC>;
                        key-positions = <2 10>;
                        timeout-ms = <70>;
                        layers = <0>;
                };
                combo_li_ESC {
                        bindings = <&none>;
                        key-positions = <2 10 17>;
                        timeout-ms = <70>;
                        layers = <0>;
                };
                combo_lo_ESC {
                        bindings = <&kp N1>;
                        key-positions = <2 10 16>;
                        timeout-ms = <70>;
                        layers = <0>;
                };
                combo_lb_ESC {
                        bindings = <&none>;
                        key-positions = <2 10 17 16>;
                        timeout-ms = <70>;
                        layers = <0>;
                };
                combo_r_ESC {
                        bindings = <&kp ESC>;
                        key-positions = <5 13>;
                        timeout-ms = <70>;
                        layers = <0>;
                };
                combo_ri_ESC {
                        bindings = <&none>;
                        key-positions = <5 13 18>;
                        timeout-ms = <70>;
                        layers = <0>;
                };
                combo_ro_ESC {
                        bindings = <&kp N1>;
                        key-positions = <5 13 19>;
                        timeout-ms = <70>;
                        layers = <0>;
                };
                combo_rb_ESC {
                        bindings = <&none>;
                        key-positions = <5 13 18 19>;
                        timeout-ms = <70>;
                        layers = <0>;
                };
                combo_l_TAB {
                        bindings = <&kp TAB>;
                        key-positions = <0 8>;
                        timeout-ms = <70>;
                        layers = <0>;
                };
                combo_li_TAB {
                        bindings = <&kp LA(TAB)>;
                        key-positions = <0 8 17>;
                        timeout-ms = <70>;
                        layers = <0>;
                };
                combo_lo_TAB {
                        bindings = <&kp LC(TAB)>;
                        key-positions = <0 8 16>;
                        timeout-ms = <70>;
                        layers = <0>;
                };
                combo_lb_TAB {
                        bindings = <&none>;
                        key-positions = <0 8 17 16>;
                        timeout-ms = <70>;
                        layers = <0>;
                };
                combo_r_TAB {
                        bindings = <&kp TAB>;
                        key-positions = <7 15>;
                        timeout-ms = <70>;
                        layers = <0>;
                };
                combo_ri_TAB {
                        bindings = <&kp LA(TAB)>;
                        key-positions = <7 15 18>;
                        timeout-ms = <70>;
                        layers = <0>;
                };
                combo_ro_TAB {
                        bindings = <&kp LC(TAB)>;
                        key-positions = <7 15 19>;
                        timeout-ms = <70>;
                        layers = <0>;
                };
                combo_rb_TAB {
                        bindings = <&none>;
                        key-positions = <7 15 18 19>;
                        timeout-ms = <70>;
                        layers = <0>;
                };
                combo_l_ENTER {
                        bindings = <&kp ENTER>;
                        key-positions = <3 11>;
                        timeout-ms = <70>;
                        layers = <0>;
                };
                combo_li_ENTER {
                        bindings = <&kp LS(ENTER)>;
                        key-positions = <3 11 17>;
                        timeout-ms = <70>;
                        layers = <0>;
                };
                combo_lo_ENTER {
                        bindings = <&none>;
                        key-positions = <3 11 16>;
                        timeout-ms = <70>;
                        layers = <0>;
                };
                combo_lb_ENTER {
                        bindings = <&none>;
                        key-positions = <3 11 17 16>;
                        timeout-ms = <70>;
                        layers = <0>;
                };
                combo_r_ENTER {
                        bindings = <&kp ENTER>;
                        key-positions = <4 12>;
                        timeout-ms = <70>;
                        layers = <0>;
                };
                combo_ri_ENTER {
                        bindings = <&kp LS(ENTER)>;
                        key-positions = <4 12 18>;
                        timeout-ms = <70>;
                        layers = <0>;
                };
                combo_ro_ENTER {
                        bindings = <&none>;
                        key-positions = <4 12 19>;
                        timeout-ms = <70>;
                        layers = <0>;
                };
                combo_rb_ENTER {
                        bindings = <&none>;
                        key-positions = <4 12 18 19>;
                        timeout-ms = <70>;
                        layers = <0>;
                };
                combo_l_boot {
                        bindings = <&none>;
                        key-positions = <0 1 2 3>;
                        timeout-ms = <70>;
                        layers = <0>;
                };
                combo_li_boot {
                        bindings = <&none>;
                        key-positions = <0 1 2 3 17>;
                        timeout-ms = <70>;
                        layers = <0>;
                };
                combo_lo_boot {
                        bindings = <&ext_power EP_OFF>;
                        key-positions = <0 1 2 3 16>;
                        timeout-ms = <70>;
                        layers = <0>;
                };
                combo_lb_boot {
                        bindings = <&bootloader>;
                        key-positions = <0 1 2 3 17 16>;
                        timeout-ms = <70>;
                        layers = <0>;
                };
                combo_r_boot {
                        bindings = <&none>;
                        key-positions = <7 6 5 4>;
                        timeout-ms = <70>;
                        layers = <0>;
                };
                combo_ri_boot {
                        bindings = <&none>;
                        key-positions = <7 6 5 4 18>;
                        timeout-ms = <70>;
                        layers = <0>;
                };
                combo_ro_boot {
                        bindings = <&ext_power EP_OFF>;
                        key-positions = <7 6 5 4 19>;
                        timeout-ms = <70>;
                        layers = <0>;
                };
                combo_rb_boot {
                        bindings = <&bootloader>;
                        key-positions = <7 6 5 4 18 19>;
                        timeout-ms = <70>;
                        layers = <0>;
                };
                combo_l_BT {
                        bindings = <&bt BT_SEL 0>;
                        key-positions = <8 9 10 11>;
                        timeout-ms = <70>;
                        layers = <0>;
                };
                combo_li_BT {
                        bindings = <&bt BT_SEL 1>;
                        key-positions = <8 9 10 11 17>;
                        timeout-ms = <70>;
                        layers = <0>;
                };
                combo_lo_BT {
                        bindings = <&bt BT_SEL 2>;
                        key-positions = <8 9 10 11 16>;
                        timeout-ms = <70>;
                        layers = <0>;
                };
                combo_lb_BT {
                        bindings = <&bt BT_CLR>;
                        key-positions = <8 9 10 11 17 16>;
                        timeout-ms = <70>;
                        layers = <0>;
                };
                combo_r_BT {
                        bindings = <&bt BT_SEL 0>;
                        key-positions = <15 14 13 12>;
                        timeout-ms = <70>;
                        layers = <0>;
                };
                combo_ri_BT {
                        bindings = <&bt BT_SEL 1>;
                        key-positions = <15 14 13 12 18>;
                        timeout-ms = <70>;
                        layers = <0>;
                };
                combo_ro_BT {
                        bindings = <&bt BT_SEL 2>;
                        key-positions = <15 14 13 12 19>;
                        timeout-ms = <70>;
                        layers = <0>;
                };
                combo_rb_BT {
                        bindings = <&bt BT_CLR>;
                        key-positions = <15 14 13 12 18 19>;
                        timeout-ms = <70>;
                        layers = <0>;
                };
        };

        keymap {
                compatible = "zmk,keymap";

                default_layer {
                        bindings = <
&none &none &none &none &none &none &none &none
&none &none &none &none &none &none &none &none
&none &none &none &none
                        >;
                };
        };
};
